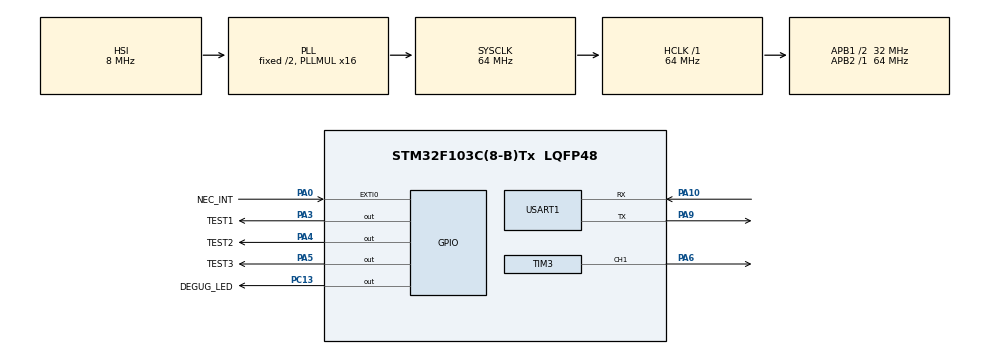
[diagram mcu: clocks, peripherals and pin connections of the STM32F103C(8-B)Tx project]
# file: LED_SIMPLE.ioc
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Dma.Request0=TIM3_CH1/TRIG
Dma.TIM3_CH1/TRIG.0.Direction=DMA_MEMORY_TO_PERIPH
Dma.TIM3_CH1/TRIG.0.Instance=DMA1_Channel6
Dma.TIM3_CH1/TRIG.0.MemDataAlignment=DMA_MDATAALIGN_HALFWORD
Dma.TIM3_CH1/TRIG.0.MemInc=DMA_MINC_ENABLE
Dma.TIM3_CH1/TRIG.0.Mode=DMA_CIRCULAR
Dma.TIM3_CH1/TRIG.0.PeriphDataAlignment=DMA_PDATAALIGN_HALFWORD
Dma.TIM3_CH1/TRIG.0.PeriphInc=DMA_PINC_DISABLE
Dma.TIM3_CH1/TRIG.0.Priority=DMA_PRIORITY_LOW
Mcu.Family=STM32F1
Mcu.Name=STM32F103C(8-B)Tx
Mcu.Package=LQFP48
NVIC.DMA1_Channel6_IRQn=true\:0\:0\:false\:false\:true\:false\:true\:true
NVIC.EXTI0_IRQn=true\:0\:0\:false\:false\:true\:true\:true\:true
NVIC.PriorityGroup=NVIC_PRIORITYGROUP_4
NVIC.TIM2_IRQn=true\:0\:0\:false\:false\:true\:true\:true\:true
NVIC.TIM3_IRQn=true\:0\:0\:false\:false\:true\:true\:true\:true
PA0-WKUP.GPIO_Label=NEC_INT
PA0-WKUP.Signal=GPXTI0
PA10.Mode=Asynchronous
PA10.Signal=USART1_RX
PA3.GPIO_Label=TEST1
PA3.Signal=GPIO_Output
PA4.GPIO_Label=TEST2
PA4.Signal=GPIO_Output
PA5.GPIO_Label=TEST3
PA5.Signal=GPIO_Output
PA6.Signal=S_TIM3_CH1
PA9.Mode=Asynchronous
PA9.Signal=USART1_TX
PC13-TAMPER-RTC.GPIO_Label=DEGUG_LED
PC13-TAMPER-RTC.Signal=GPIO_Output
ProjectManager.HeapSize=0x200
ProjectManager.StackSize=0x400
ProjectManager.TargetToolchain=STM32CubeIDE
RCC.AHBFreq_Value=64000000
RCC.APB1CLKDivider=RCC_HCLK_DIV2
RCC.APB1Freq_Value=32000000
RCC.APB1TimFreq_Value=64000000
RCC.APB2Freq_Value=64000000
RCC.APB2TimFreq_Value=64000000
RCC.HCLKFreq_Value=64000000
RCC.PLLMUL=RCC_PLL_MUL16
RCC.SYSCLKFreq_VALUE=64000000
RCC.SYSCLKSource=RCC_SYSCLKSOURCE_PLLCLK
RCC.USBFreq_Value=64000000
SH.S_TIM3_CH1.0=TIM3_CH1,PWM Generation1 CH1
TIM2.AutoReloadPreload=TIM_AUTORELOAD_PRELOAD_ENABLE
TIM2.Period=50000
TIM2.Prescaler=128
TIM3.Channel-PWM\ Generation1\ CH1=TIM_CHANNEL_1
TIM3.OC1Preload_PWM=ENABLE
TIM3.Period=80
USART1.VirtualMode=VM_ASYNC
VP_SYS_VS_ND.Mode=No_Debug
VP_TIM2_VS_ClockSourceINT.Mode=Internal
VP_TIM3_VS_ClockSourceINT.Mode=Internal
board=custom

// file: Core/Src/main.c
/* USER CODE BEGIN Header */
/**
  ******************************************************************************
  * @file           : main.c
  * @brief          : Main program body
  ******************************************************************************
  * @attention
  *
  * Copyright (c) 2024 STMicroelectronics.
  * All rights reserved.
  *
  * This software is licensed under terms that can be found in the LICENSE file
  * in the root directory of this software component.
  * If no LICENSE file comes with this software, it is provided AS-IS.
  *
  ******************************************************************************
  */
/* USER CODE END Header */
#include "main.h"

/* USER CODE BEGIN Includes */

#include "wsc1228b.h"
#include "nec.h"

/* USER CODE END Includes */

/* USER CODE BEGIN PD */
#define PAGE_SIZE 1024
#define DATA_PAGE_NUMBER 30

#define PAGE_ADDRESS (FLASH_BASE + (DATA_PAGE_NUMBER * PAGE_SIZE))
/* USER CODE END PD */

TIM_HandleTypeDef htim2;
TIM_HandleTypeDef htim3;
DMA_HandleTypeDef hdma_tim3_ch1_trig;

UART_HandleTypeDef huart1;

/* USER CODE BEGIN PV */

uint32_t flash_data[4];

extern volatile uint8_t  SYM;
extern volatile uint8_t  SYM_EVENT;

/* USER CODE END PV */

void SystemClock_Config(void);
static void MX_GPIO_Init(void);
static void MX_DMA_Init(void);
static void MX_TIM3_Init(void);
static void MX_TIM2_Init(void);
static void MX_USART1_UART_Init(void);

/* USER CODE BEGIN 0 */

void flash_write()
{
	HAL_FLASH_Unlock();
	FLASH_EraseInitTypeDef eraseInitStruct;
	eraseInitStruct.TypeErase = FLASH_TYPEERASE_PAGES;
	eraseInitStruct.PageAddress = PAGE_ADDRESS;
	eraseInitStruct.NbPages = 1;
	uint32_t pageError = 0;
	HAL_FLASHEx_Erase(&eraseInitStruct, &pageError);
	for(int i=0; i<4; i++)
	{
		HAL_FLASH_Program(FLASH_TYPEPROGRAM_WORD, PAGE_ADDRESS+i*4, flash_data[i]);
	}
	HAL_FLASH_Lock();
}

void flash_read()
{
	for (int i = 0; i < 4; i++)
	{
		flash_data[i] = *(__IO uint32_t*)(PAGE_ADDRESS + i * 4);
	}
}

void change_color(int c)
{
	wsc1228_set_color(c);
	HAL_StatusTypeDef status = wsc1228_start_data_sending();
	//*
	if(status==HAL_OK)
	{
		LOG("Start data sending OK. Color=%d\r\n",c);
	}
	else
	{
		LOG("Start data sending ERROR - %d\r\n",status);
	}
	//*/
}

/* USER CODE END 0 */

int main(void)
{

  /* MCU Configuration--------------------------------------------------------*/

  /* Reset of all peripherals, Initializes the Flash interface and the Systick. */
  HAL_Init();

  /* Configure the system clock */
  SystemClock_Config();

  /* Initialize all configured peripherals */
  MX_GPIO_Init();
  MX_DMA_Init();
  MX_TIM3_Init();
  MX_TIM2_Init();
  MX_USART1_UART_Init();
  /* USER CODE BEGIN 2 */

  nec_init(&htim2);
  HAL_Delay(500);
  wsc1228_init_module(&htim3);

  for(int i=0; i<10; i++)
  {
	  change_color(i);
	  HAL_Delay(2000);
  }
  //change_color(0);

  //wsc1228_set_color(0);
  //wsc1228_start_data_sending();

  /* USER CODE END 2 */

  /* Infinite loop */
  /* USER CODE BEGIN WHILE */
  LOG("Starting main loop \r\n");

  int ct=0;
  while (1)
  {
	  if(SYM_EVENT==1)
	  {
		  SYM_EVENT=0;
		  change_color(SYM);
	  }
	  HAL_Delay(1);
	  ct++;
	  if(ct>=300)
	  {
		  ct=0;
		  HAL_GPIO_TogglePin(DEGUG_LED_GPIO_Port, DEGUG_LED_Pin);
		  HAL_GPIO_TogglePin(TEST2_GPIO_Port, TEST2_Pin);
	  }
	  HAL_GPIO_TogglePin(TEST1_GPIO_Port, TEST1_Pin);

    /* USER CODE END WHILE */

  }
}

void SystemClock_Config(void)
{
  RCC_OscInitTypeDef RCC_OscInitStruct = {0};
  RCC_ClkInitTypeDef RCC_ClkInitStruct = {0};

  /** Initializes the RCC Oscillators according to the specified parameters
  * in the RCC_OscInitTypeDef structure.
  */
  RCC_OscInitStruct.OscillatorType = RCC_OSCILLATORTYPE_HSI;
  RCC_OscInitStruct.HSIState = RCC_HSI_ON;
  RCC_OscInitStruct.HSICalibrationValue = RCC_HSICALIBRATION_DEFAULT;
  RCC_OscInitStruct.PLL.PLLState = RCC_PLL_ON;
  RCC_OscInitStruct.PLL.PLLSource = RCC_PLLSOURCE_HSI_DIV2;
  RCC_OscInitStruct.PLL.PLLMUL = RCC_PLL_MUL16;
  if (HAL_RCC_OscConfig(&RCC_OscInitStruct) != HAL_OK)
  {
    Error_Handler();
  }

  /** Initializes the CPU, AHB and APB buses clocks
  */
  RCC_ClkInitStruct.ClockType = RCC_CLOCKTYPE_HCLK|RCC_CLOCKTYPE_SYSCLK
                              |RCC_CLOCKTYPE_PCLK1|RCC_CLOCKTYPE_PCLK2;
  RCC_ClkInitStruct.SYSCLKSource = RCC_SYSCLKSOURCE_PLLCLK;
  RCC_ClkInitStruct.AHBCLKDivider = RCC_SYSCLK_DIV1;
  RCC_ClkInitStruct.APB1CLKDivider = RCC_HCLK_DIV2;
  RCC_ClkInitStruct.APB2CLKDivider = RCC_HCLK_DIV1;

  if (HAL_RCC_ClockConfig(&RCC_ClkInitStruct, FLASH_LATENCY_2) != HAL_OK)
  {
    Error_Handler();
  }
}

static void MX_TIM2_Init(void)
{

  TIM_ClockConfigTypeDef sClockSourceConfig = {0};
  TIM_MasterConfigTypeDef sMasterConfig = {0};

  htim2.Instance = TIM2;
  htim2.Init.Prescaler = 128;
  htim2.Init.CounterMode = TIM_COUNTERMODE_UP;
  htim2.Init.Period = 50000;
  htim2.Init.ClockDivision = TIM_CLOCKDIVISION_DIV1;
  htim2.Init.AutoReloadPreload = TIM_AUTORELOAD_PRELOAD_ENABLE;
  if (HAL_TIM_Base_Init(&htim2) != HAL_OK)
  {
    Error_Handler();
  }
  sClockSourceConfig.ClockSource = TIM_CLOCKSOURCE_INTERNAL;
  if (HAL_TIM_ConfigClockSource(&htim2, &sClockSourceConfig) != HAL_OK)
  {
    Error_Handler();
  }
  sMasterConfig.MasterOutputTrigger = TIM_TRGO_RESET;
  sMasterConfig.MasterSlaveMode = TIM_MASTERSLAVEMODE_DISABLE;
  if (HAL_TIMEx_MasterConfigSynchronization(&htim2, &sMasterConfig) != HAL_OK)
  {
    Error_Handler();
  }

}

static void MX_TIM3_Init(void)
{

  TIM_ClockConfigTypeDef sClockSourceConfig = {0};
  TIM_MasterConfigTypeDef sMasterConfig = {0};
  TIM_OC_InitTypeDef sConfigOC = {0};

  htim3.Instance = TIM3;
  htim3.Init.Prescaler = 0;
  htim3.Init.CounterMode = TIM_COUNTERMODE_UP;
  htim3.Init.Period = 80;
  htim3.Init.ClockDivision = TIM_CLOCKDIVISION_DIV1;
  htim3.Init.AutoReloadPreload = TIM_AUTORELOAD_PRELOAD_DISABLE;
  if (HAL_TIM_Base_Init(&htim3) != HAL_OK)
  {
    Error_Handler();
  }
  sClockSourceConfig.ClockSource = TIM_CLOCKSOURCE_INTERNAL;
  if (HAL_TIM_ConfigClockSource(&htim3, &sClockSourceConfig) != HAL_OK)
  {
    Error_Handler();
  }
  if (HAL_TIM_PWM_Init(&htim3) != HAL_OK)
  {
    Error_Handler();
  }
  sMasterConfig.MasterOutputTrigger = TIM_TRGO_RESET;
  sMasterConfig.MasterSlaveMode = TIM_MASTERSLAVEMODE_DISABLE;
  if (HAL_TIMEx_MasterConfigSynchronization(&htim3, &sMasterConfig) != HAL_OK)
  {
    Error_Handler();
  }
  sConfigOC.OCMode = TIM_OCMODE_PWM1;
  sConfigOC.Pulse = 0;
  sConfigOC.OCPolarity = TIM_OCPOLARITY_HIGH;
  sConfigOC.OCFastMode = TIM_OCFAST_DISABLE;
  if (HAL_TIM_PWM_ConfigChannel(&htim3, &sConfigOC, TIM_CHANNEL_1) != HAL_OK)
  {
    Error_Handler();
  }
  HAL_TIM_MspPostInit(&htim3);

}

static void MX_USART1_UART_Init(void)
{

  huart1.Instance = USART1;
  huart1.Init.BaudRate = 115200;
  huart1.Init.WordLength = UART_WORDLENGTH_8B;
  huart1.Init.StopBits = UART_STOPBITS_1;
  huart1.Init.Parity = UART_PARITY_NONE;
  huart1.Init.Mode = UART_MODE_TX_RX;
  huart1.Init.HwFlowCtl = UART_HWCONTROL_NONE;
  huart1.Init.OverSampling = UART_OVERSAMPLING_16;
  if (HAL_UART_Init(&huart1) != HAL_OK)
  {
    Error_Handler();
  }
  /* USER CODE BEGIN USART1_Init 2 */

  uart_logger_init(&huart1);
  /* USER CODE END USART1_Init 2 */

}

static void MX_DMA_Init(void)
{

  /* DMA controller clock enable */
  __HAL_RCC_DMA1_CLK_ENABLE();

  /* DMA interrupt init */
  /* DMA1_Channel6_IRQn interrupt configuration */
  HAL_NVIC_SetPriority(DMA1_Channel6_IRQn, 0, 0);
  HAL_NVIC_EnableIRQ(DMA1_Channel6_IRQn);

}

static void MX_GPIO_Init(void)
{
  GPIO_InitTypeDef GPIO_InitStruct = {0};

  /* GPIO Ports Clock Enable */
  __HAL_RCC_GPIOC_CLK_ENABLE();
  __HAL_RCC_GPIOA_CLK_ENABLE();

  /*Configure GPIO pin Output Level */
  HAL_GPIO_WritePin(DEGUG_LED_GPIO_Port, DEGUG_LED_Pin, GPIO_PIN_RESET);

  /*Configure GPIO pin Output Level */
  HAL_GPIO_WritePin(GPIOA, TEST1_Pin|TEST2_Pin|TEST3_Pin, GPIO_PIN_RESET);

  /*Configure GPIO pin : DEGUG_LED_Pin */
  GPIO_InitStruct.Pin = DEGUG_LED_Pin;
  GPIO_InitStruct.Mode = GPIO_MODE_OUTPUT_PP;
  GPIO_InitStruct.Pull = GPIO_NOPULL;
  GPIO_InitStruct.Speed = GPIO_SPEED_FREQ_LOW;
  HAL_GPIO_Init(DEGUG_LED_GPIO_Port, &GPIO_InitStruct);

  /*Configure GPIO pin : NEC_INT_Pin */
  GPIO_InitStruct.Pin = NEC_INT_Pin;
  GPIO_InitStruct.Mode = GPIO_MODE_IT_RISING;
  GPIO_InitStruct.Pull = GPIO_NOPULL;
  HAL_GPIO_Init(NEC_INT_GPIO_Port, &GPIO_InitStruct);

  /*Configure GPIO pins : TEST1_Pin TEST2_Pin TEST3_Pin */
  GPIO_InitStruct.Pin = TEST1_Pin|TEST2_Pin|TEST3_Pin;
  GPIO_InitStruct.Mode = GPIO_MODE_OUTPUT_PP;
  GPIO_InitStruct.Pull = GPIO_NOPULL;
  GPIO_InitStruct.Speed = GPIO_SPEED_FREQ_LOW;
  HAL_GPIO_Init(GPIOA, &GPIO_InitStruct);

  /* EXTI interrupt init*/
  HAL_NVIC_SetPriority(EXTI0_IRQn, 0, 0);
  HAL_NVIC_EnableIRQ(EXTI0_IRQn);

}

void Error_Handler(void)
{
  __disable_irq();
  while (1)
  {
  }
}
